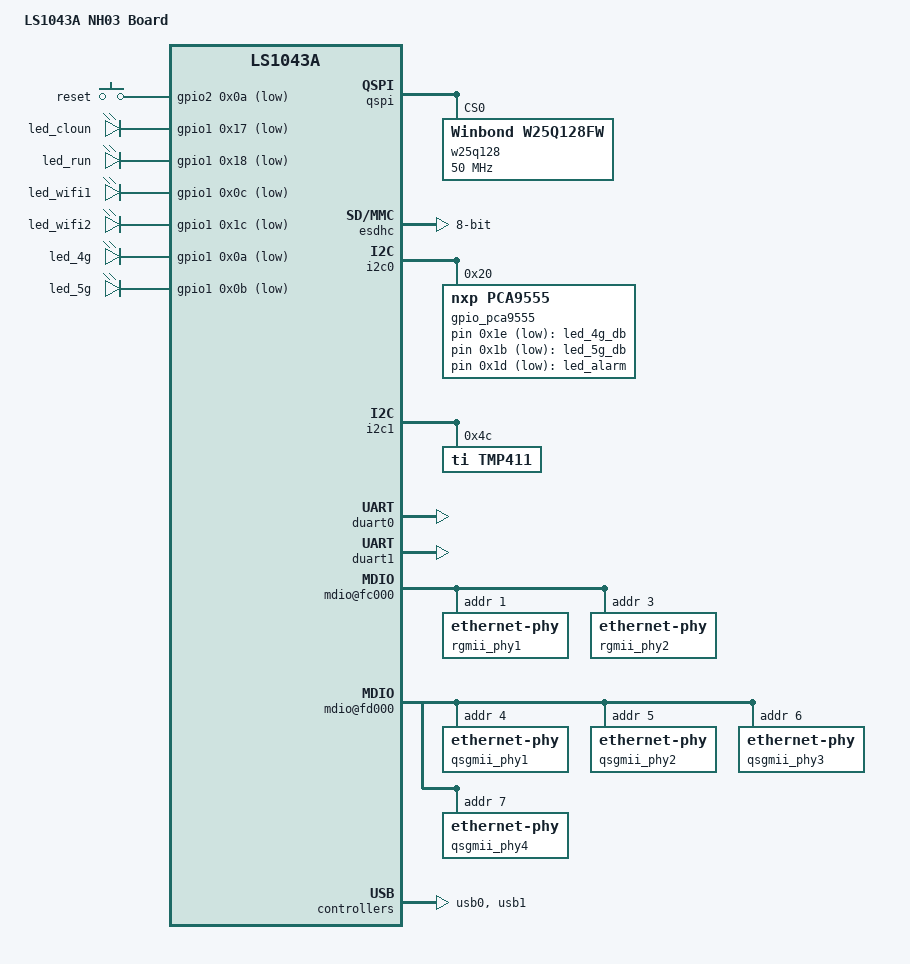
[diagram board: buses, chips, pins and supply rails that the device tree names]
/dts-v1/;
#include "fsl-ls1043a.dtsi"
#include <dt-bindings/gpio/gpio.h>

/ {
	model = "LS1043A NH03 Board";
	compatible = "fsl,ls1043a-nh03", "fsl,ls1043a";

	aliases {
		serial0 = &duart0;
		serial1 = &duart1;
		serial2 = &duart2;
		serial3 = &duart3;
	};

	chosen {
		stdout-path = "serial0:115200n8";
	};

    gpio_keys_polled {
		compatible = "gpio-keys-polled";
		poll-interval = <100>;

		reset {
			label = "reset";
			linux,code = <0x198>;
			gpios = <&gpio2 0x0a GPIO_ACTIVE_LOW>;
		};
	};

    leds {
        compatible = "gpio-leds";

        led@1 {
			gpios = <&gpio1 0x17 GPIO_ACTIVE_LOW>;
			label = "led_cloun";
			default-state = "off";
		};

		led@2 {
			gpios = <&gpio1 0x18 GPIO_ACTIVE_LOW>;
			label = "led_run";
			default-state = "off";
		};

		led@3 {
			gpios = <&gpio1 0x0c GPIO_ACTIVE_LOW>; // 0x1b
			label = "led_wifi1";
			default-state = "off";
		};

		led@4 {
			gpios = <&gpio1 0x1c GPIO_ACTIVE_LOW>;
			label = "led_wifi2";
			default-state = "off";
		};

		led@5 {
			gpios = <&gpio1 0x0a GPIO_ACTIVE_LOW>; // 0x1d
			label = "led_4g";
			default-state = "off";
		};

		led@6 {
			gpios = <&gpio1 0x0b GPIO_ACTIVE_LOW>; // 0x1e
			label = "led_5g";
			default-state = "off";
		};

		led@7 {
			gpios = <&gpio_pca9555 0x1e GPIO_ACTIVE_LOW>; // 0x0a
			label = "led_4g_db";
			default-state = "off";
		};

		led@8 {
			gpios = <&gpio_pca9555 0x1b GPIO_ACTIVE_LOW>; // 0x0b
			label = "led_5g_db";
			default-state = "off";
		};

		led@9 {
			gpios = <&gpio_pca9555 0x1d GPIO_ACTIVE_LOW>;
			label = "led_alarm";
			default-state = "off";
		};
    };
};

&qspi {
    status = "okay";
    num-cs = <1>;
    bus-num = <0>;

    w25q128@0 {
        compatible = "Winbond,w25q128fw";
        #address-cells = <1>;
		#size-cells = <1>;
        spi-max-frequency = <50000000>;
        reg = <0>;
        spi-rx-bus-width = <4>;
        spi-tx-bus-width = <4>;
    };
};

&esdhc {
    status = "okay";
    bus-width = <8>;
    mmc-hs200-1_8v;
    sd-uhs-sdr104;
    sd-uhs-sdr50;
    sd-uhs-sdr25;
    sd-uhs-sdr12;
};

&i2c0 {
    status = "okay";
    gpio_pca9555: gpio@20 {
        compatible = "nxp,pca9555";
        reg = <0x20>;
        pinctrl-names = "default";
        gpio-controller;
        #gpio-cells = <2>;
    };
};

&i2c1 {
    status = "okay";
    tmp411@4c {
        compatible = "ti,tmp411";
        reg = <0x4c>;
        shunt-resistor = <1000>;
    };
};

&duart0 {
	status = "okay";
};

&duart1 {
	status = "okay";
};

#include "fsl-ls1043-post.dtsi"

&fman0 {
    ethernet@e0000 {
		phy-handle = <&qsgmii_phy1>;
		phy-connection-type = "qsgmii";
	};

	ethernet@e2000 {
		phy-handle = <&qsgmii_phy2>;
		phy-connection-type = "qsgmii";
	};

	ethernet@e4000 {
		phy-handle = <&rgmii_phy1>;
		phy-connection-type = "rgmii-id";
	};

	ethernet@e6000 {
		phy-handle = <&rgmii_phy2>;
		phy-connection-type = "rgmii-id";
	};

    ethernet@e8000 {
		phy-handle = <&qsgmii_phy3>;
		phy-connection-type = "qsgmii";
	};

	ethernet@ea000 {
		phy-handle = <&qsgmii_phy4>;
		phy-connection-type = "qsgmii";
	};

    mdio@fc000 {
        rgmii_phy1: ethernet-phy@0 {
			reg = <1>;
			rtl821x,aldps-disable;
		};

		rgmii_phy2: ethernet-phy@1 {
			reg = <3>;
			rtl821x,aldps-disable;
		};
    };

    mdio@fd000 {
        qsgmii_phy1:ethernet-phy@0 {
            reg = <4>;
        };
        qsgmii_phy2:ethernet-phy@1 {
            reg = <5>;
        };
        qsgmii_phy3:ethernet-phy@2 {
            reg = <6>;
        };
        qsgmii_phy4:ethernet-phy@3 {
            reg = <7>;
        };
    };
};

&usb0 {
	status = "okay";
};

&usb1 {
	status = "okay";
};
